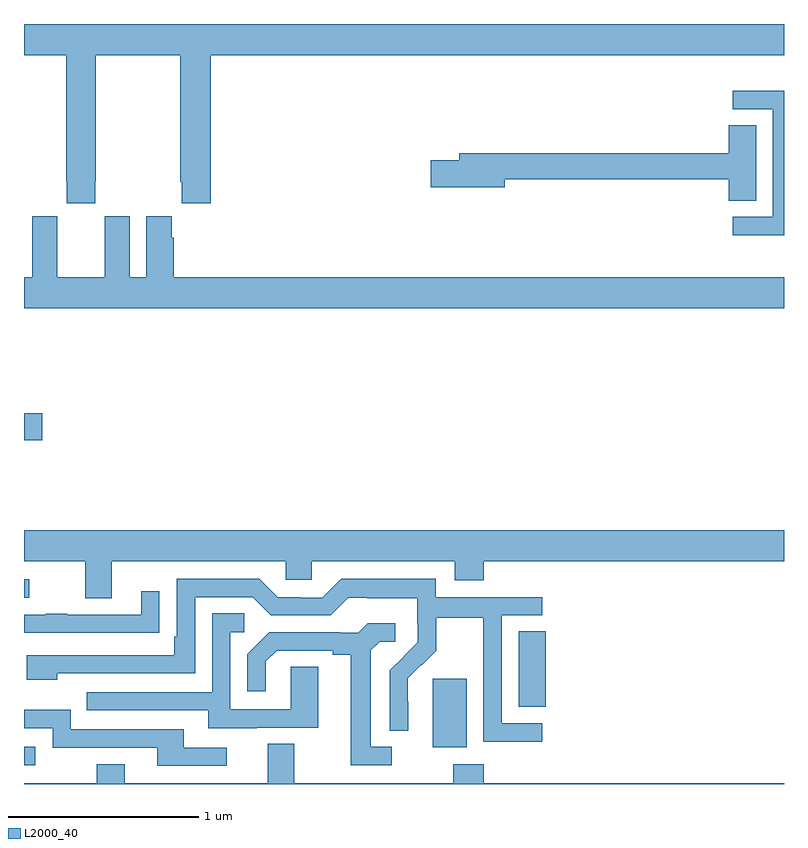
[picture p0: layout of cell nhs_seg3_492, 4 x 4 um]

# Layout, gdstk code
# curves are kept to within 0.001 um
import gdstk
lib = gdstk.Library(unit=1e-6, precision=1e-09)
def R(c, l, rs):  # rectangles x0, y0, x1, y1
    for r in rs: c.add(gdstk.rectangle(r[:2], r[2:], *l))
def P(c, l, *ps):  # polygons
    for p in ps: c.add(gdstk.Polygon(p, *l))
L2000_40 = (2000, 40)

nhs_seg3_492 = lib.new_cell('nhs_seg3_492')
R(nhs_seg3_492, L2000_40, [(135,710.499,135.058,710.595), (137.15,710.594,137.329,710.955), (137.603,710.806,137.747,711.203), (135,711.381,135.028,711.477), (135,712.21,135.097,712.352)])
P(nhs_seg3_492, L2000_40, [(135.375,713.569),(135.378,713.569),(135.378,714.236),(135.823,714.236),(135.823,713.569),(135.829,713.569),(135.829,713.457),(135.983,713.457),(135.983,714.236),(139,714.236),(139,714.4),(135,714.4),(135,714.236),(135.223,714.236),(135.223,713.569),(135.225,713.569),(135.225,713.457),(135.375,713.457)],
  [(139,714.048),(138.729,714.048),(138.729,713.952),(138.942,713.952),(138.942,713.385),(138.729,713.385),(138.729,713.287),(139,713.287)],
  [(138.853,713.867),(138.71,713.867),(138.71,713.72),(137.291,713.72),(137.291,713.684),(137.142,713.684),(137.142,713.542),(137.53,713.542),(137.53,713.584),(138.71,713.584),(138.71,713.47),(138.853,713.47)],
  [(139,713.068),(135.788,713.068),(135.788,713.276),(135.778,713.276),(135.778,713.389),(135.644,713.389),(135.644,713.068),(135.556,713.068),(135.556,713.389),(135.426,713.389),(135.426,713.276),(135.425,713.276),(135.425,713.068),(135.175,713.068),(135.175,713.276),(135.174,713.276),(135.174,713.389),(135.044,713.389),(135.044,713.068),(135,713.068),(135,712.904),(139,712.904)],
  [(135.463,711.572),(136.377,711.572),(136.377,711.474),(136.515,711.474),(136.515,711.572),(137.267,711.572),(137.267,711.473),(137.42,711.473),(137.42,711.572),(139,711.572),(139,711.736),(135,711.736),(135,711.572),(135.323,711.572),(135.323,711.378),(135.463,711.378)],
  [(137.728,710.721),(137.514,710.721),(137.514,711.288),(137.728,711.288),(137.728,711.384),(137.166,711.384),(137.166,711.481),(136.669,711.481),(136.569,711.381),(136.454,711.381),(136.454,711.384),(136.335,711.384),(136.239,711.48),(135.804,711.48),(135.804,711.175),(135.791,711.175),(135.791,711.078),(135.015,711.078),(135.015,710.948),(135.176,710.948),(135.176,710.982),(135.9,710.982),(135.9,711.384),(136.203,711.384),(136.299,711.288),(136.614,711.288),(136.707,711.381),(136.807,711.381),(136.807,711.377),(137.07,711.377),(137.07,711.243),(137.072,711.243),(137.072,711.146),(136.926,710.998),(136.926,710.68),(137.022,710.68),(137.021,710.957),(137.091,711.027),(137.094,711.024),(137.171,711.101),(137.171,711.276),(137.416,711.276),(137.416,711.052),(137.418,711.052),(137.418,710.623),(137.728,710.623)],
  [(135.611,711.196),(135.713,711.196),(135.713,711.415),(135.617,711.415),(135.617,711.291),(135.227,711.291),(135.227,711.296),(135.115,711.296),(135.115,711.291),(135,711.291),(135,711.195),(135.611,711.195)],
  [(136.225,710.697),(136.549,710.697),(136.549,711.017),(136.404,711.017),(136.404,710.793),(136.086,710.793),(136.086,711.198),(136.159,711.198),(136.159,711.299),(135.99,711.299),(135.99,710.883),(135.331,710.883),(135.331,710.787),(135.971,710.787),(135.971,710.693),(136.225,710.693)],
  [(136.936,710.595),(136.825,710.595),(136.825,711.103),(136.872,711.15),(136.954,711.15),(136.954,711.247),(136.81,711.247),(136.758,711.195),(136.664,711.195),(136.664,711.198),(136.292,711.198),(136.176,711.082),(136.176,710.889),(136.273,710.889),(136.273,711.045),(136.33,711.102),(136.625,711.102),(136.625,711.08),(136.721,711.08),(136.721,710.499),(136.936,710.499)],
  [(136.066,710.592),(135.841,710.592),(135.841,710.688),(135.246,710.688),(135.246,710.791),(135,710.791),(135,710.694),(135.15,710.694),(135.15,710.592),(135.701,710.592),(135.701,710.496),(136.066,710.496)],
  [(139,710.404),(137.42,710.404),(137.42,710.503),(137.26,710.503),(137.26,710.404),(136.423,710.404),(136.423,710.612),(136.283,710.612),(136.283,710.404),(135.529,710.404),(135.529,710.503),(135.382,710.503),(135.382,710.404),(135,710.404),(135,710.4),(139,710.4)])

lib.write_gds('nhs_seg3_492.gds')
